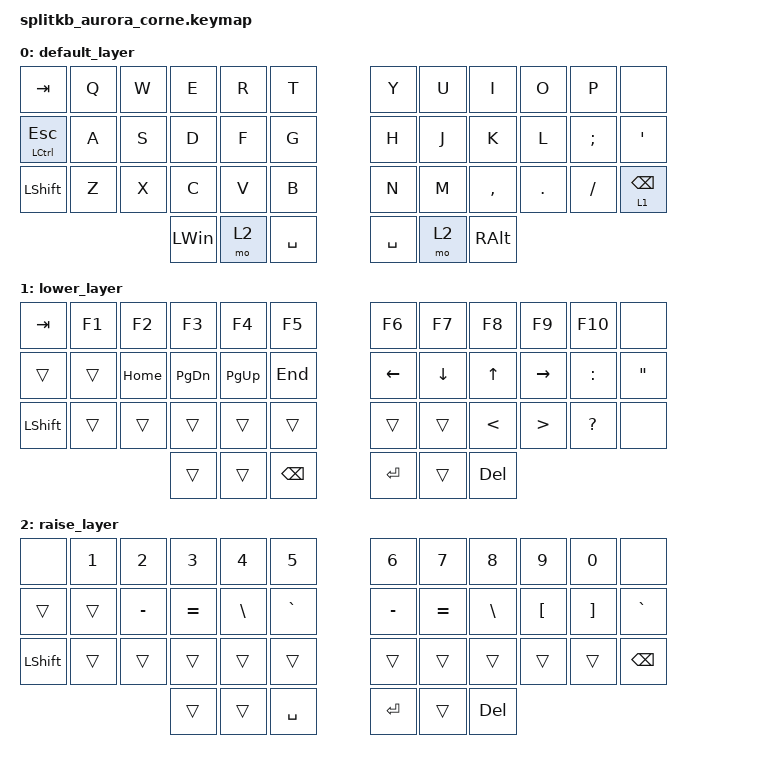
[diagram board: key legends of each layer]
/*
 * Copyright (c) 2020 The ZMK Contributors
 *
 * SPDX-License-Identifier: MIT
 */

#include <behaviors.dtsi>
#include <dt-bindings/zmk/keys.h>

/ {
    behaviors {
        tap_or_hold: tap_or_hold {
            compatible = "zmk,behavior-hold-tap";
            label = "TAP_OR_HOLD";
            bindings = <&kp>, <&kp>;

            #binding-cells = <2>;
            tapping-term-ms = <200>;
        };

        tap_or_mod: tap_or_mod {
            compatible = "zmk,behavior-hold-tap";
            label = "TAP_OR_MOD";
            bindings = <&mo>, <&kp>;

            #binding-cells = <2>;
            tapping-term-ms = <200>;
        };
    };

    keymap {
        compatible = "zmk,keymap";

        default_layer {
            // -----------------------------------------------------------------------------------------
            // |  TAB |  Q  |  W  |  E  |  R  |  T  |   |  Y  |  U   |  I  |  O  |  P  | BSPC |
            // | CTRL |  A  |  S  |  D  |  F  |  G  |   |  H  |  J   |  K  |  L  |  ;  |  '   |
            // | SHFT |  Z  |  X  |  C  |  V  |  B  |   |  N  |  M   |  ,  |  .  |  /  | ESC  |
            //                    | GUI | LWR | SPC |   | ENT | RSE  | ALT |

            bindings = <
&kp TAB                    &kp Q  &kp W  &kp E         &kp R  &kp T        &kp Y      &kp U  &kp I          &kp O    &kp P     &none
&tap_or_hold LCTRL ESCAPE  &kp A  &kp S  &kp D         &kp F  &kp G        &kp H      &kp J  &kp K          &kp L    &kp SEMI  &kp SQT
&kp LSHFT                  &kp Z  &kp X  &kp C         &kp V  &kp B        &kp N      &kp M  &kp COMMA      &kp DOT  &kp FSLH  &tap_or_mod 1 BACKSPACE
                                         &kp LEFT_WIN  &mo 2  &kp SPACE    &kp SPACE  &mo 2  &kp RIGHT_ALT
            >;
        };

        lower_layer {
            // -----------------------------------------------------------------------------------------
            // |  TAB |  1  |  2  |  3  |  4  |  5  |   |  6  |  7  |  8  |  9  |  0  | BSPC |
            // | BTCLR| BT1 | BT2 | BT3 | BT4 | BT5 |   | LFT | DWN |  UP | RGT |     |      |
            // | SHFT |     |     |     |     |     |   |     |     |     |     |     |      |
            //                    | GUI |     | SPC |   | ENT |     | ALT |

            bindings = <
&kp TAB    &kp F1  &kp F2    &kp F3         &kp F4       &kp F5           &kp F6     &kp F7    &kp F8         &kp F9            &kp F10       &none
&trans     &trans  &kp HOME  &kp PAGE_DOWN  &kp PAGE_UP  &kp END          &kp LEFT   &kp DOWN  &kp UP         &kp RIGHT         &kp COLON     &kp DOUBLE_QUOTES
&kp LSHFT  &trans  &trans    &trans         &trans       &trans           &trans     &trans    &kp LESS_THAN  &kp GREATER_THAN  &kp QUESTION  &none
                             &trans         &trans       &kp BACKSPACE    &kp ENTER  &trans    &kp DELETE
            >;
        };

        raise_layer {
            // -----------------------------------------------------------------------------------------
            // |  TAB |  !  |  @  |  #  |  $  |  %  |   |  ^  |  &  |  *  |  (  |  )  | BSPC |
            // | CTRL |     |     |     |     |     |   |  -  |  =  |  [  |  ]  |  \  |  `   |
            // | SHFT |     |     |     |     |     |   |  _  |  +  |  {  |  }  | "|" |  ~   |
            //                    | GUI |     | SPC |   | ENT |     | ALT |

            bindings = <
&none           &kp NUMBER_1  &kp NUMBER_2  &kp NUMBER_3  &kp NUMBER_4   &kp N5       &kp NUMBER_6  &kp NUMBER_7  &kp N8         &kp N9            &kp N0             &none
&trans          &trans        &kp MINUS     &kp EQUAL     &kp BACKSLASH  &kp GRAVE    &kp MINUS     &kp EQUAL     &kp BACKSLASH  &kp LEFT_BRACKET  &kp RIGHT_BRACKET  &kp GRAVE
&kp LEFT_SHIFT  &trans        &trans        &trans        &trans         &trans       &trans        &trans        &trans         &trans            &trans             &kp BACKSPACE
                                            &trans        &trans         &kp SPACE    &kp RET       &trans        &kp DEL
            >;
        };
    };
};
